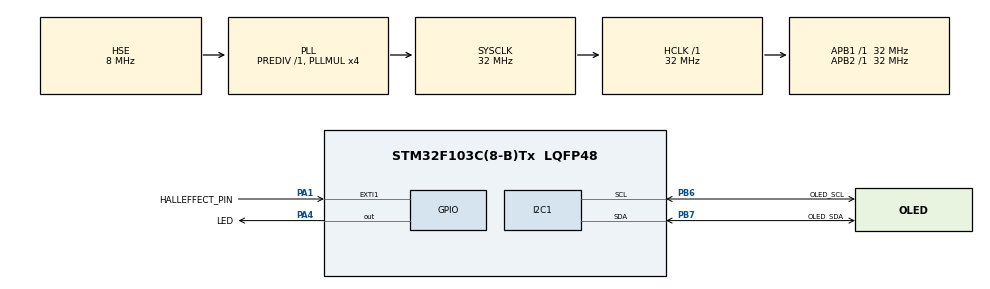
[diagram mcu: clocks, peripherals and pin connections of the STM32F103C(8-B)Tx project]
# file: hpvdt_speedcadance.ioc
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I2C1.I2C_Mode=I2C_Fast
Mcu.Family=STM32F1
Mcu.Name=STM32F103C(8-B)Tx
Mcu.Package=LQFP48
NVIC.EXTI1_IRQn=true\:0\:0\:false\:false\:true\:true\:true\:true
NVIC.PriorityGroup=NVIC_PRIORITYGROUP_4
NVIC.RCC_IRQn=true\:0\:0\:false\:false\:true\:true\:false\:true
PA1.GPIO_Label=HALLEFFECT_PIN
PA1.GPIO_ModeDefaultEXTI=GPIO_MODE_IT_FALLING
PA1.GPIO_PuPd=GPIO_PULLUP
PA1.Signal=GPXTI1
PA4.GPIO_Label=LED
PA4.Signal=GPIO_Output
PB6.GPIO_Label=OLED_SCL
PB6.Mode=I2C
PB6.Signal=I2C1_SCL
PB7.GPIO_Label=OLED_SDA
PB7.Mode=I2C
PB7.Signal=I2C1_SDA
PD0-OSC_IN.GPIO_Label=RESONATOR_IN
PD0-OSC_IN.Mode=HSE-External-Oscillator
PD0-OSC_IN.Signal=RCC_OSC_IN
PD1-OSC_OUT.GPIO_Label=RESONATOR_OUT
PD1-OSC_OUT.Mode=HSE-External-Oscillator
PD1-OSC_OUT.Signal=RCC_OSC_OUT
ProjectManager.HeapSize=0x200
ProjectManager.StackSize=0x400
ProjectManager.TargetToolchain=STM32CubeIDE
RCC.AHBFreq_Value=32000000
RCC.APB1Freq_Value=32000000
RCC.APB1TimFreq_Value=32000000
RCC.APB2Freq_Value=32000000
RCC.APB2TimFreq_Value=32000000
RCC.EnbaleCSS=true
RCC.HCLKFreq_Value=32000000
RCC.PLLMUL=RCC_PLL_MUL4
RCC.PLLSourceVirtual=RCC_PLLSOURCE_HSE
RCC.SYSCLKFreq_VALUE=32000000
RCC.SYSCLKSource=RCC_SYSCLKSOURCE_PLLCLK
RCC.USBFreq_Value=32000000
VP_SYS_VS_ND.Mode=No_Debug
board=custom

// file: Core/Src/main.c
/* USER CODE BEGIN Header */
/**
  ******************************************************************************
  * @file           : main.c
  * @brief          : Main program body
  ******************************************************************************
  * @attention
  *
  * Copyright (c) 2026 STMicroelectronics.
  * All rights reserved.
  *
  * This software is licensed under terms that can be found in the LICENSE file
  * in the root directory of this software component.
  * If no LICENSE file comes with this software, it is provided AS-IS.
  *
  ******************************************************************************
  */
/* USER CODE END Header */
#include "main.h"

/* USER CODE BEGIN Includes */
#include "ssd1306.h"
#include "ssd1306_fonts.h"
#include <stdio.h>
/* USER CODE END Includes */

/* USER CODE BEGIN PD */
//Average size of the rolling average
#define AVG_SIZE 8
#define WHEEL_RADIUS_MM 325.5f //(DIMENSIONS IN MM)
#define PI 3.14159265f
#define magnet_count 1 //Accounts for the amount of magnets placed on the wheel
#define RPM_TO_KMH_FACTOR ((2.0f * PI * WHEEL_RADIUS_MM * 60.0f) / 1000000.0f)
/* USER CODE END PD */

I2C_HandleTypeDef hi2c1;

/* USER CODE BEGIN PV */
// Use volatile so the compiler knows it changes in an ISR, Flag Variables
volatile uint8_t magnet_flag = 0;
volatile uint32_t pulse_time = 0;

//Calculation variables
uint32_t time_diffs[AVG_SIZE] = {0};
float speed_kmh = 0.0f;
uint8_t avg_index = 0;
uint32_t last_time = 0;
uint32_t last_display_time = 0;
float filtered_rpm = 0.0f;
uint8_t samples_collected = 0;
uint32_t running_sum = 0;
/* USER CODE END PV */

void SystemClock_Config(void);
static void MX_GPIO_Init(void);
static void MX_I2C1_Init(void);

int main(void)
{

  /* MCU Configuration--------------------------------------------------------*/

  /* Reset of all peripherals, Initializes the Flash interface and the Systick. */
  HAL_Init();

  /* Configure the system clock */
  SystemClock_Config();

  /* Initialize all configured peripherals */
  MX_GPIO_Init();
  MX_I2C1_Init();
  /* USER CODE BEGIN 2 */
  //Initializes the first text to the I2C display
  ssd1306_Init();
  ssd1306_SetCursor(5,5);
  ssd1306_WriteString("SPEED: ", Font_11x18, White);
  ssd1306_SetCursor(5,24);
  ssd1306_WriteString("RPM: ", Font_11x18, White);
  ssd1306_UpdateScreen();
  /* USER CODE END 2 */

  /* Infinite loop */
  /* USER CODE BEGIN WHILE */
  while (1)
  {
	  //----------------------------------------------------------
	  // 1. MAGNET FLAG PROCESSING
	  //----------------------------------------------------------
	  //Get the current time as a reference
	  uint32_t now = HAL_GetTick();

	  //If the flag for the magnet was triggered
	  if (magnet_flag)
	  {
		  HAL_GPIO_TogglePin(LED_GPIO_Port, LED_Pin);
		  // Snapshot the time safely and reset the flag ensuring no other magnet pulse affects it
		  __disable_irq();
		  uint32_t current_pulse = pulse_time;
		  magnet_flag = 0;
		  __enable_irq();

		  if (last_time != 0)
		  {
			  uint32_t diff = current_pulse - last_time;

			  // Debounce: Ignore pulses faster than 3000 RPM (20ms)
			  if (diff > 20)
			  {
				  // 1. Subtract the OLD value from the running sum
				  running_sum -= time_diffs[avg_index];

				  // 2. Store the NEW value in the circular buffer
				  time_diffs[avg_index] = diff;

	  			  // 3. Add the NEW value to the running sum
	  			  running_sum += time_diffs[avg_index];

	  			  avg_index = (avg_index + 1) % AVG_SIZE;

	  			  if (samples_collected < AVG_SIZE)
	  				  samples_collected++;
			  }
	  		}

	  		// ALWAYS update last_time so the next pulse has a reference
	  		last_time = current_pulse;
	  	  }

	  	//----------------------------------------------------------
	  	// 2. TIMED DISPLAY & CALCULATIONS (Every 300ms)
	  	//----------------------------------------------------------

	  	if (now - last_display_time >= 300)
	  	{
	  		last_display_time = now;

	  	     // Timeout: If no magnet seen for 2.5 seconds, we are stopped
	  	     if (last_time != 0 && (now - last_time > 2500))
	  	     {
	  	    	 filtered_rpm = 0.0f;
	  	    	 speed_kmh = 0.0f;
	  	         samples_collected = 0;
	  	         running_sum = 0;
	  	         last_time = 0; // Require a fresh first pulse to start again

	  	         for(int i = 0; i < AVG_SIZE; i++)
	  	        	 time_diffs[i] = 0;
	  	     }

	  	     else if (samples_collected > 0)
	  	     {
	  	         // Formula: (RPM * 2 * PI * R * 60) / 1,000,000
	  	    	 filtered_rpm = (60000.0f * (float)samples_collected) / (float)running_sum;
	  	         speed_kmh = filtered_rpm * RPM_TO_KMH_FACTOR;
	  	     }

	  	     // Update the OLED screen
	  	     char buffer[25];
	  	     sprintf(buffer, "%.2f km/h  ", speed_kmh);

	  	     ssd1306_SetCursor(68, 5);
	  	     ssd1306_WriteString(buffer, Font_11x18, White);

	  	     sprintf(buffer, "%.2f RPM  ", filtered_rpm);
	  	     ssd1306_SetCursor(45, 24);
	  	     ssd1306_WriteString(buffer, Font_11x18, White);

//	  	     ssd1306_UpdatePage(0);
//	  	    ssd1306_UpdatePage(1);
//	  	    ssd1306_UpdatePage(2);

	  	     ssd1306_UpdateScreen();
	  	}

    /* USER CODE END WHILE */

  }
}

void SystemClock_Config(void)
{
  RCC_OscInitTypeDef RCC_OscInitStruct = {0};
  RCC_ClkInitTypeDef RCC_ClkInitStruct = {0};

  /** Initializes the RCC Oscillators according to the specified parameters
  * in the RCC_OscInitTypeDef structure.
  */
  RCC_OscInitStruct.OscillatorType = RCC_OSCILLATORTYPE_HSE;
  RCC_OscInitStruct.HSEState = RCC_HSE_ON;
  RCC_OscInitStruct.HSEPredivValue = RCC_HSE_PREDIV_DIV1;
  RCC_OscInitStruct.HSIState = RCC_HSI_ON;
  RCC_OscInitStruct.PLL.PLLState = RCC_PLL_ON;
  RCC_OscInitStruct.PLL.PLLSource = RCC_PLLSOURCE_HSE;
  RCC_OscInitStruct.PLL.PLLMUL = RCC_PLL_MUL4;
  if (HAL_RCC_OscConfig(&RCC_OscInitStruct) != HAL_OK)
  {
    Error_Handler();
  }

  /** Initializes the CPU, AHB and APB buses clocks
  */
  RCC_ClkInitStruct.ClockType = RCC_CLOCKTYPE_HCLK|RCC_CLOCKTYPE_SYSCLK
                              |RCC_CLOCKTYPE_PCLK1|RCC_CLOCKTYPE_PCLK2;
  RCC_ClkInitStruct.SYSCLKSource = RCC_SYSCLKSOURCE_PLLCLK;
  RCC_ClkInitStruct.AHBCLKDivider = RCC_SYSCLK_DIV1;
  RCC_ClkInitStruct.APB1CLKDivider = RCC_HCLK_DIV1;
  RCC_ClkInitStruct.APB2CLKDivider = RCC_HCLK_DIV1;

  if (HAL_RCC_ClockConfig(&RCC_ClkInitStruct, FLASH_LATENCY_1) != HAL_OK)
  {
    Error_Handler();
  }

  /** Enables the Clock Security System
  */
  HAL_RCC_EnableCSS();
}

static void MX_I2C1_Init(void)
{

  hi2c1.Instance = I2C1;
  hi2c1.Init.ClockSpeed = 400000;
  hi2c1.Init.DutyCycle = I2C_DUTYCYCLE_2;
  hi2c1.Init.OwnAddress1 = 0;
  hi2c1.Init.AddressingMode = I2C_ADDRESSINGMODE_7BIT;
  hi2c1.Init.DualAddressMode = I2C_DUALADDRESS_DISABLE;
  hi2c1.Init.OwnAddress2 = 0;
  hi2c1.Init.GeneralCallMode = I2C_GENERALCALL_DISABLE;
  hi2c1.Init.NoStretchMode = I2C_NOSTRETCH_DISABLE;
  if (HAL_I2C_Init(&hi2c1) != HAL_OK)
  {
    Error_Handler();
  }

}

static void MX_GPIO_Init(void)
{
  GPIO_InitTypeDef GPIO_InitStruct = {0};

  /* GPIO Ports Clock Enable */
  __HAL_RCC_GPIOD_CLK_ENABLE();
  __HAL_RCC_GPIOA_CLK_ENABLE();
  __HAL_RCC_GPIOB_CLK_ENABLE();

  /*Configure GPIO pin Output Level */
  HAL_GPIO_WritePin(LED_GPIO_Port, LED_Pin, GPIO_PIN_RESET);

  /*Configure GPIO pin : HALLEFFECT_PIN_Pin */
  GPIO_InitStruct.Pin = HALLEFFECT_PIN_Pin;
  GPIO_InitStruct.Mode = GPIO_MODE_IT_FALLING;
  GPIO_InitStruct.Pull = GPIO_PULLUP;
  HAL_GPIO_Init(HALLEFFECT_PIN_GPIO_Port, &GPIO_InitStruct);

  /*Configure GPIO pin : LED_Pin */
  GPIO_InitStruct.Pin = LED_Pin;
  GPIO_InitStruct.Mode = GPIO_MODE_OUTPUT_PP;
  GPIO_InitStruct.Pull = GPIO_NOPULL;
  GPIO_InitStruct.Speed = GPIO_SPEED_FREQ_LOW;
  HAL_GPIO_Init(LED_GPIO_Port, &GPIO_InitStruct);

  /* EXTI interrupt init*/
  HAL_NVIC_SetPriority(EXTI1_IRQn, 0, 0);
  HAL_NVIC_EnableIRQ(EXTI1_IRQn);

}

/* USER CODE BEGIN 4 */

//---------------------------------------------------------
//CALLBACK LOGIC FOR THE MAGNET FLAG
//--------------------------------------------------------

void HAL_GPIO_EXTI_Callback(uint16_t GPIO_Pin)
{
    if (GPIO_Pin == HALLEFFECT_PIN_Pin)
    {
        pulse_time = HAL_GetTick(); // Get the time the microsecond it happened
        magnet_flag = 1;            // Set the flag for the main loop

        // Quick visual feedback (Keep this very fast)
        HAL_GPIO_TogglePin(LED_GPIO_Port, LED_Pin);
    }
}
/* USER CODE END 4 */

void Error_Handler(void)
{
  __disable_irq();
  while (1)
  {
  }
}
